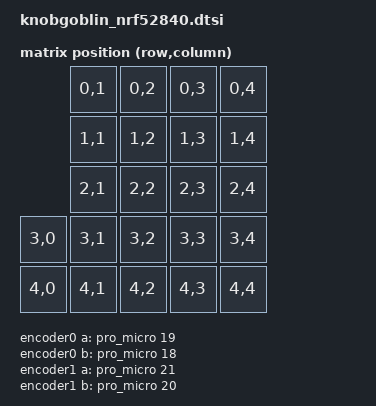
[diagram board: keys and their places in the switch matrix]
#include "knobgoblin_nrf52840-layouts.dtsi"
#include <dt-bindings/zmk/matrix_transform.h>

/ {
    matrix_transform0: matrix_transform0 {
        compatible = "zmk,matrix-transform";
        columns = <5>;
        rows = <5>;
        map = <
                    RC(0,1) RC(0,2) RC(0,3) RC(0,4)
                    RC(1,1) RC(1,2) RC(1,3) RC(1,4)
                    RC(2,1) RC(2,2) RC(2,3) RC(2,4)
            RC(3,0) RC(3,1) RC(3,2) RC(3,3) RC(3,4)
            RC(4,0) RC(4,1) RC(4,2) RC(4,3) RC(4,4)
        >;
    };

    encoder0: encoder0 {
      compatible = "alps,ec11";
      a-gpios = <&pro_micro 19 (GPIO_ACTIVE_HIGH | GPIO_PULL_UP)>;
      b-gpios = <&pro_micro 18 (GPIO_ACTIVE_HIGH | GPIO_PULL_UP)>;
      steps = <96>;
      status = "okay";
  };

  encoder1: encoder1 {
      compatible = "alps,ec11";
      a-gpios = <&pro_micro 21 (GPIO_ACTIVE_HIGH | GPIO_PULL_UP)>;
      b-gpios = <&pro_micro 20 (GPIO_ACTIVE_HIGH | GPIO_PULL_UP)>;
      steps = <96>;
      status = "okay";
  };

  sensors: sensors {
      compatible = "zmk,keymap-sensors";
      sensors = <&encoder0 &encoder1>;
      triggers-per-rotation = <24>;
  };
};

&physical_layout_knobgoblin_nrf52840 {
    transform = <&matrix_transform0>;
};
